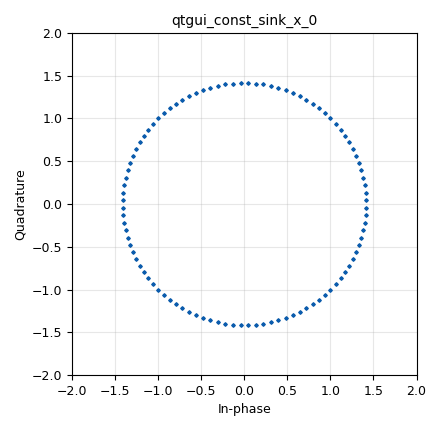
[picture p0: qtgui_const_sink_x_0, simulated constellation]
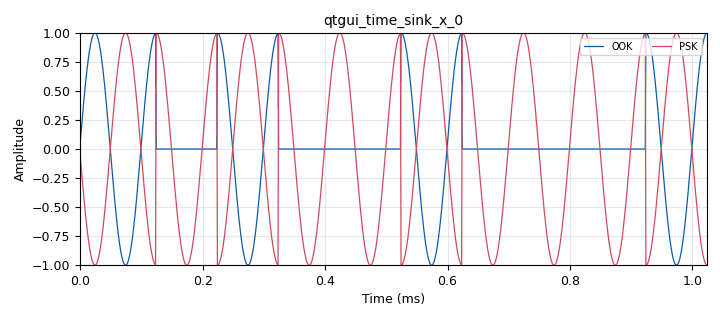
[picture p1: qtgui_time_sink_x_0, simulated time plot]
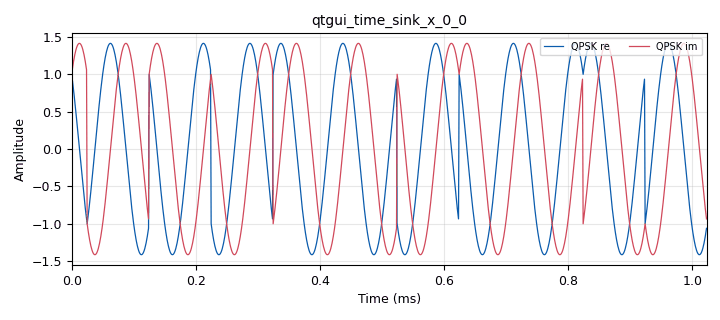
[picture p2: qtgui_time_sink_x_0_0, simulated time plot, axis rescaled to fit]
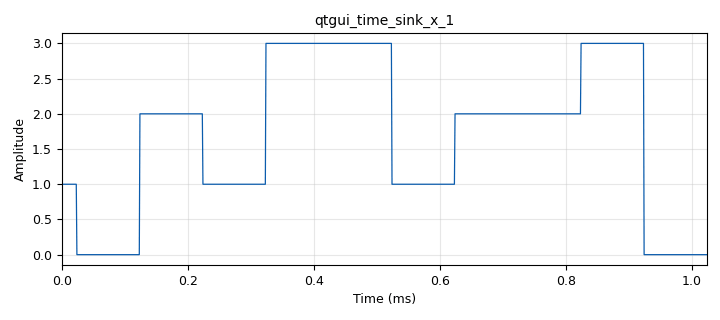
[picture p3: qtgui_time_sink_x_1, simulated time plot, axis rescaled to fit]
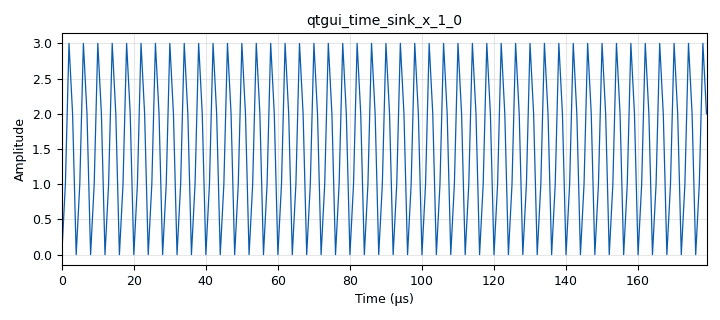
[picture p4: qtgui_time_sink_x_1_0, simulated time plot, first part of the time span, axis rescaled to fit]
options:
  parameters:
    author: jason
    generate_options: qt_gui
    generator_class_name: PythonQtGuiGenerator
    generator_module: gnuradio.grc.workflows.python_qt_gui
    id: lesson13_old_modulation_sim
    output_language: python
    title: lesson13_modulation_sim
  states: {}

blocks:
- name: freq
  id: variable_qtgui_range
  parameters:
    start: '0'
    step: '1'
    stop: 100e3
    value: 10e3
  states: {}
- name: samp_rate
  id: variable
  parameters:
    value: 1e6
  states: {}
- name: sps
  id: variable
  parameters:
    value: '100'
  states: {}
- name: variable_constellation
  id: variable_constellation
  parameters:
    comment: |-
      variable_constellation.points() gives normalized points
      variable_constellation.pre_diff_code() gives symbol map
    const_points: '[-1-1j, -1+1j, 1+1j, 1-1j]'
    dims: '1'
    normalization: digital.constellation.AMPLITUDE_NORMALIZATION
    precision: '8'
    rot_sym: '4'
    sym_map: '[0, 1, 3, 2]'
    type: calcdist
  states: {}
- name: analog_random_uniform_source_x_0
  id: analog_random_uniform_source_x
  parameters:
    maximum: '2'
    minimum: '0'
    seed: '0'
    type: byte
  states: {}
- name: analog_random_uniform_source_x_0_0
  id: analog_random_uniform_source_x
  parameters:
    maximum: '2'
    minimum: '0'
    seed: '1'
    type: byte
  states: {}
- name: analog_sig_source_x_0
  id: analog_sig_source_x
  parameters:
    amp: '1'
    freq: freq
    offset: '0'
    phase: '0'
    samp_rate: samp_rate
    type: float
    waveform: analog.GR_COS_WAVE
  states: {}
- name: analog_sig_source_x_0_0
  id: analog_sig_source_x
  parameters:
    amp: '1'
    freq: freq
    offset: '0'
    phase: '0'
    samp_rate: samp_rate
    type: complex
    waveform: analog.GR_COS_WAVE
  states: {}
- name: blocks_char_to_float_0
  id: blocks_char_to_float
  parameters:
    scale: '1'
  states: {}
- name: blocks_char_to_float_0_0
  id: blocks_char_to_float
  parameters:
    scale: '1'
  states: {}
- name: blocks_char_to_float_0_0_0
  id: blocks_char_to_float
  parameters:
    scale: '1'
  states: {}
- name: blocks_char_to_float_0_0_0_0
  id: blocks_char_to_float
  parameters:
    scale: '1'
  states: {}
- name: blocks_char_to_float_0_0_0_1
  id: blocks_char_to_float
  parameters:
    scale: '1'
  states: {}
- name: blocks_float_to_complex_0
  id: blocks_float_to_complex
  parameters: {}
  states: {}
- name: blocks_multiply_xx_0
  id: blocks_multiply_xx
  parameters:
    type: float
  states: {}
- name: blocks_multiply_xx_0_0
  id: blocks_multiply_xx
  parameters:
    type: float
  states: {}
- name: blocks_multiply_xx_0_0_0
  id: blocks_multiply_xx
  parameters:
    type: complex
  states: {}
- name: blocks_repeat_0
  id: blocks_repeat
  parameters:
    interp: sps
    type: byte
  states: {}
- name: blocks_repeat_0_0
  id: blocks_repeat
  parameters:
    interp: sps
    type: byte
  states: {}
- name: blocks_throttle_0
  id: blocks_throttle2
  parameters:
    samples_per_second: samp_rate
    type: byte
  states: {}
- name: blocks_throttle_0_0
  id: blocks_throttle2
  parameters:
    samples_per_second: samp_rate
    type: byte
  states: {}
- name: blocks_throttle_0_0_0
  id: blocks_throttle2
  parameters:
    samples_per_second: samp_rate
    type: byte
  states: {}
- name: blocks_vector_source_x_0
  id: blocks_vector_source_x
  parameters:
    repeat: 'True'
    type: byte
    vector: variable_constellation.pre_diff_code()
  states: {}
- name: digital_constellation_decoder_cb_0
  id: digital_constellation_decoder_cb
  parameters:
    constellation: variable_constellation
  states: {}
- name: digital_map_bb_0
  id: digital_map_bb
  parameters:
    map: '[+1,-1]'
  states: {}
- name: digital_map_bb_0_0
  id: digital_map_bb
  parameters:
    map: '[+1,-1]'
  states: {}
- name: qtgui_const_sink_x_0
  id: qtgui_const_sink_x
  parameters:
    size: '1024'
    type: complex
  states: {}
- name: qtgui_time_sink_x_0
  id: qtgui_time_sink_x
  parameters:
    label1: OOK
    label2: PSK
    nconnections: '2'
    size: '1024'
    srate: samp_rate
    type: float
  states: {}
- name: qtgui_time_sink_x_0_0
  id: qtgui_time_sink_x
  parameters:
    label1: QPSK re
    label2: QPSK im
    size: '1024'
    srate: samp_rate
    type: complex
  states: {}
- name: qtgui_time_sink_x_1
  id: qtgui_time_sink_x
  parameters:
    size: '1024'
    srate: samp_rate
    type: float
  states: {}
- name: qtgui_time_sink_x_1_0
  id: qtgui_time_sink_x
  parameters:
    size: '1024'
    srate: samp_rate
    type: float
  states: {}

connections:
- [analog_random_uniform_source_x_0, '0', blocks_repeat_0, '0']
- [analog_random_uniform_source_x_0_0, '0', blocks_repeat_0_0, '0']
- [analog_sig_source_x_0, '0', blocks_multiply_xx_0, '0']
- [analog_sig_source_x_0, '0', blocks_multiply_xx_0_0, '0']
- [analog_sig_source_x_0_0, '0', blocks_multiply_xx_0_0_0, '1']
- [blocks_char_to_float_0, '0', blocks_multiply_xx_0, '1']
- [blocks_char_to_float_0_0, '0', blocks_float_to_complex_0, '0']
- [blocks_char_to_float_0_0, '0', blocks_multiply_xx_0_0, '1']
- [blocks_char_to_float_0_0_0, '0', blocks_float_to_complex_0, '1']
- [blocks_char_to_float_0_0_0_0, '0', qtgui_time_sink_x_1, '0']
- [blocks_char_to_float_0_0_0_1, '0', qtgui_time_sink_x_1_0, '0']
- [blocks_float_to_complex_0, '0', blocks_multiply_xx_0_0_0, '0']
- [blocks_float_to_complex_0, '0', digital_constellation_decoder_cb_0, '0']
- [blocks_multiply_xx_0, '0', qtgui_time_sink_x_0, '0']
- [blocks_multiply_xx_0_0, '0', qtgui_time_sink_x_0, '1']
- [blocks_multiply_xx_0_0_0, '0', qtgui_const_sink_x_0, '0']
- [blocks_multiply_xx_0_0_0, '0', qtgui_time_sink_x_0_0, '0']
- [blocks_repeat_0, '0', blocks_throttle_0, '0']
- [blocks_repeat_0_0, '0', blocks_throttle_0_0, '0']
- [blocks_throttle_0, '0', blocks_char_to_float_0, '0']
- [blocks_throttle_0, '0', digital_map_bb_0, '0']
- [blocks_throttle_0_0, '0', digital_map_bb_0_0, '0']
- [blocks_throttle_0_0_0, '0', blocks_char_to_float_0_0_0_1, '0']
- [blocks_vector_source_x_0, '0', blocks_throttle_0_0_0, '0']
- [digital_constellation_decoder_cb_0, '0', blocks_char_to_float_0_0_0_0, '0']
- [digital_map_bb_0, '0', blocks_char_to_float_0_0, '0']
- [digital_map_bb_0_0, '0', blocks_char_to_float_0_0_0, '0']

metadata:
  file_format: 1
  grc_version: 3.10.12.0
